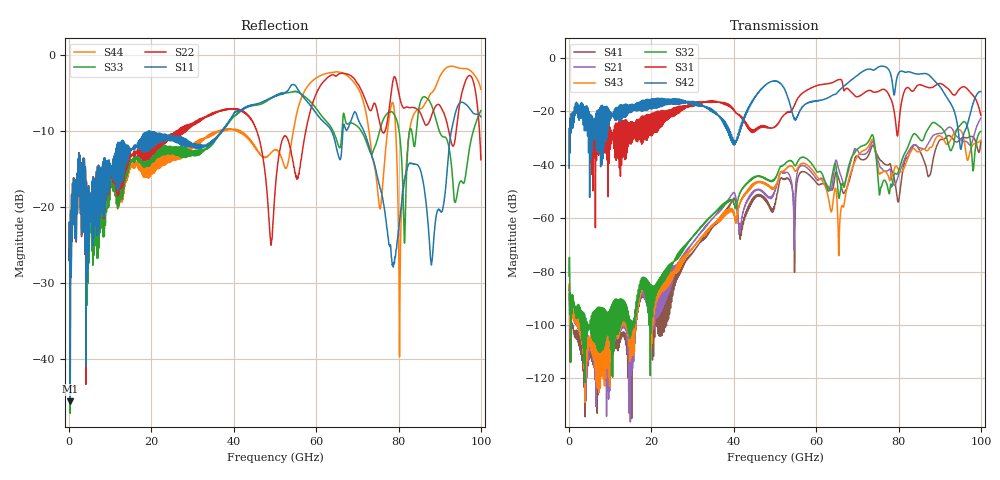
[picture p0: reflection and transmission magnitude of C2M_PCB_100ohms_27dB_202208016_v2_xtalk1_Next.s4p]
! Info: Touchstone file created by Circ.  Input file=Intel_C2M_200G_11p5in_202208016_staggered.circ
# Hz S RI R 50
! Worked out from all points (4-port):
!   10000 points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, 10 MHz to 100 GHz, reference 50 ohm
!   strongest paths, dB at 10 MHz, 25.01 GHz, 50.01 GHz, 75.01 GHz, 100 GHz:
!     S42: -41.1, -15.6, -8.6, -3.4, -12.6
!     S31: -41.2, -19.4, -25.6, -12.5, -21.4
!     S32: -81.7, -77.2, -45.0, -44.9, -27.5
!     S43: -86.2, -80.5, -48.0, -41.3, -30.8
!     S21: -86.5, -78.5, -49.7, -38.4, -22.5
!     S41: -88.2, -79.9, -54.5, -36.8, -31.5
!   lowest |S11| = -45.6 dB at 280 MHz (marker M1), VSWR 1.01, Z = 50.1 + j0.521 ohm
!   |S11| at or under -10 dB: start of sweep to 19.23 GHz; 19.5 GHz to 36.99 GHz (17.49 GHz wide, 61.9 % of centre); 71.59 GHz to 92.83 GHz (21.24 GHz wide, 25.8 % of centre)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
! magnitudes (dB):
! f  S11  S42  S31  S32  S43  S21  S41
! 10 MHz  -27.0  -41.1  -41.2  -81.7  -86.2  -86.5  -88.2
! 280 MHz  -45.6  -23.4  -23.5  -89.2  -95.9  -95.8  -100.1
! 65.66 GHz  -13.7  -12.1  -8.0  -51.9  -64.3  -42.6  -46.1
! 73.47 GHz  -13.2  -4.3  -12.3  -28.9  -30.7  -31.8  -33.3
! 76.03 GHz  -18.7  -3.0  -11.8  -47.3  -42.9  -41.6  -38.8
! 95.19 GHz  -6.2  -34.0  -11.1  -24.8  -27.3  -30.8  -30.1
! 100 GHz  -8.1  -12.6  -21.4  -27.5  -30.8  -22.5  -31.5
